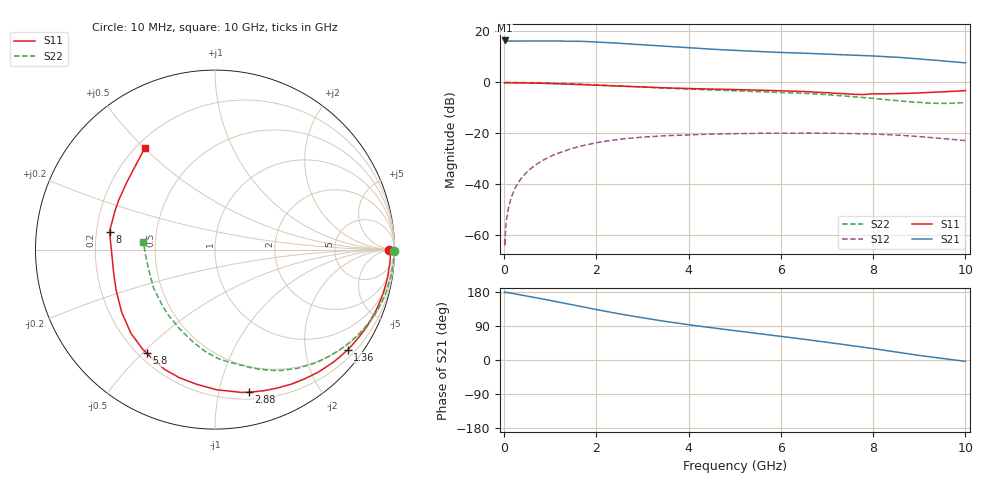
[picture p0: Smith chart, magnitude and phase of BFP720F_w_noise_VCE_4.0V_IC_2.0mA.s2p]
! Infineon Technologies  Discrete & RF Semiconductors
! BFP720F
! VCE =  4.0 V,  IC =  2.0 mA
! Common Emitter S-Parameters:  Jan 2016
# GHz  S  MA  R  50
!  f  S11  S21  S12  S22
! GHz  MAG  ANG  MAG  ANG  MAG  ANG  MAG  ANG
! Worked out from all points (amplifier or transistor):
!   233 points, 10 MHz to 10 GHz, reference 50 ohm
!   highest |S21| = 16.5 dB at 10 MHz (marker M1)
!   |S21| within 3 dB of that: start of sweep to 4.108 GHz
!   unconditionally stable (mu >= 1): 9.276 GHz to end of sweep
!   at 200 MHz: K = 0.06, MSG = 29.7 dB, |S12| = -43.2 dB
!   at 1.74 GHz: K = 0.15, MSG = 20.4 dB, |S12| = -24.7 dB
!   at 10 GHz: K = 1.10, MAG = 13.4 dB, |S12| = -22.9 dB
!   lowest NFmin = 0.43 dB at 450 MHz
!   S11 on the Smith chart (normalised r, x): 10 MHz: 68, +0; 1.36 GHz: 0.38, -2.95; 2.88 GHz: 0.26, -1.23; 5.8 GHz: 0.23, -0.51; 8 GHz: 0.25, +0.08; 10 GHz: 0.23, +0.50
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0.01  0.9711 0.0  6.663 179.4  0.0008 -10.3  0.996 -0.3
0.015  0.9748 -0.2  6.527 178.7  0.0006 29.7  0.9977 -0.7
0.02  0.9785 -0.4  6.393 177.9  0.0008 69.8  0.9995 -1.0
0.05  0.9782 -1.4  6.459 178.5  0.002 75.3  0.9968 -1.0
0.12  0.9778 -3.1  6.474 177.1  0.0042 84.2  0.9972 -2.2
0.34  0.9738 -8.9  6.487 172.1  0.0118 82.2  0.993 -6.4
0.8  0.9584 -21.4  6.545 161.8  0.0279 74.1  0.9796 -15.2
1.36  0.9257 -37.0  6.445 148.6  0.0466 62.7  0.9461 -26.1
1.68  0.9015 -46.3  6.401 140.8  0.0563 56.0  0.9199 -32.5
2.2  0.8622 -60.3  6.093 128.5  0.0697 45.2  0.8739 -42.4
2.58  0.835 -69.8  5.798 120.0  0.0773 37.8  0.8406 -48.9
2.88  0.8158 -76.7  5.567 113.8  0.0819 32.6  0.8144 -53.3
3.4  0.7846 -87.3  5.185 103.7  0.088 24.2  0.7753 -59.9
4  0.7567 -98.0  4.788 93.0  0.0931 15.7  0.7363 -65.9
5.1  0.7189 -114.1  4.212 75.9  0.0982 2.7  0.6762 -74.8
5.8  0.6905 -123.5  3.935 65.5  0.1 -4.9  0.6418 -80.7
6.8  0.6369 -141.7  3.648 50.0  0.1004 -15.8  0.5861 -92.1
7.4  0.5963 -157.3  3.467 40.2  0.0989 -22.5  0.5371 -101.6
8  0.5961 170.3  3.301 30.1  0.0964 -29.3  0.4846 -113.8
8.4  0.5979 158.5  3.159 22.9  0.093 -34.1  0.4473 -125.7
9  0.6192 142.2  2.895 12.0  0.0858 -41.0  0.4037 -147.9
10  0.6873 124.8  2.415 -3.6  0.0715 -48.6  0.4014 174.2
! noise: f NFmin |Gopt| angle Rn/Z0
0.45  0.43  0.69  4  0.26
0.9  0.5  0.69  12  0.28
1.8  0.54  0.67  25  0.22
2.4  0.57  0.66  31  0.22
5.5  0.87  0.48  86  0.15
10  1.3  0.32  -135  0.15
